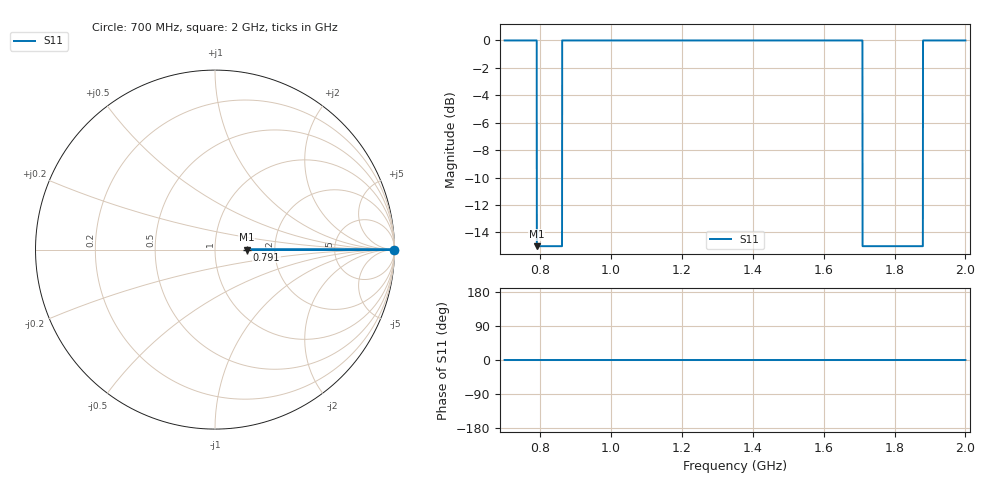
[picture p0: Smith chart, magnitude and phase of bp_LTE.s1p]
# Hz S  dB  R 50
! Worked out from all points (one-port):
!   2601 points, 700 MHz to 2 GHz, reference 50 ohm
!   lowest |S11| = -15.0 dB at 791 MHz (marker M1), VSWR 1.43, Z = 71.6 + j0 ohm
!   |S11| at or under -10 dB: 790.8 MHz to 862.2 MHz (71.33 MHz wide, 8.63 % of centre); 1.71 GHz to 1.88 GHz (170.3 MHz wide, 9.49 % of centre)
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7e8  0.00 0.0
7.84e8  0.00 0.0
7.87e8  0.00 0.0
7.91e8  -15.00 0.0
7.93e8  -15.00 0.0
7.945e8  -15.00 0.0
7.975e8  -15.00 0.0
8.555e8  -15.00 0.0
8.565e8  -15.00 0.0
8.575e8  -15.00 0.0
8.58e8  -15.00 0.0
8.625e8  0.00 0.0
8.635e8  0.00 0.0
8.645e8  0.00 0.0
8.65e8  0.00 0.0
8.69e8  0.00 0.0
1.025e9  0.00 0.0
1.1875e9  0.00 0.0
1.35e9  0.00 0.0
1.5125e9  0.00 0.0
1.675e9  0.00 0.0
1.703e9  0.00 0.0
1.7165e9  -15.00 0.0
1.8375e9  -15.00 0.0
1.8735e9  -15.00 0.0
1.883e9  0.00 0.0
1.887e9  0.00 0.0
2e9  0.00 0.0
